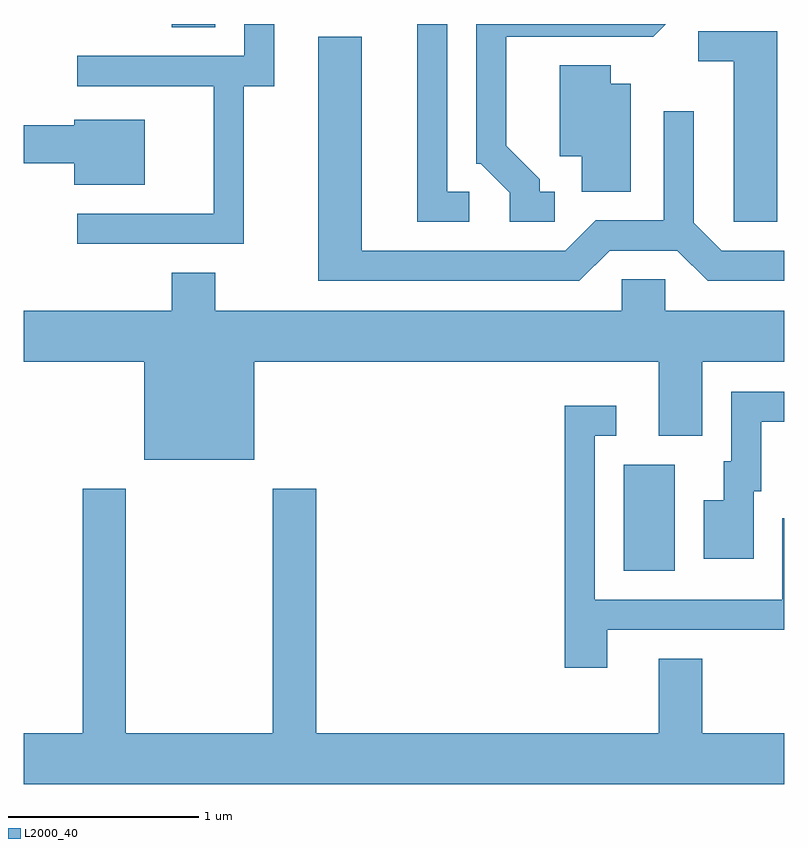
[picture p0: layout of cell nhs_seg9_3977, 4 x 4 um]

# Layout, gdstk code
import gdstk
lib = gdstk.Library(unit=1e-6, precision=1e-09)
def R(c, l, rs):  # rectangles x0, y0, x1, y1
    for r in rs: c.add(gdstk.rectangle(r[:2], r[2:], *l))
def P(c, l, *ps):  # polygons
    for p in ps: c.add(gdstk.Polygon(p, *l))
L2000_40 = (2000, 40)

nhs_seg9_3977 = lib.new_cell('nhs_seg9_3977')
R(nhs_seg9_3977, L2000_40, [(304.766,2039.556,305.034,2040.114), (302.391,2042.416,302.619,2042.432)])
P(nhs_seg9_3977, L2000_40, [(304.403,2041.549),(304.324,2041.549),(304.324,2041.617),(304.149,2041.792),(304.149,2042.366),(304.922,2042.366),(304.988,2042.432),(303.991,2042.432),(303.991,2041.696),(304.014,2041.696),(304.166,2041.544),(304.166,2041.391),(304.403,2041.391)],
  [(303.953,2041.549),(303.839,2041.549),(303.839,2042.432),(303.681,2042.432),(303.681,2041.391),(303.953,2041.391)],
  [(302.769,2042.106),(302.929,2042.106),(302.929,2042.432),(302.771,2042.432),(302.771,2042.264),(301.893,2042.264),(301.893,2042.106),(302.611,2042.106),(302.611,2041.434),(301.893,2041.434),(301.893,2041.276),(302.769,2041.276)],
  [(305.574,2042.394),(305.158,2042.394),(305.158,2042.236),(305.346,2042.236),(305.346,2041.391),(305.574,2041.391)],
  [(304.692,2041.241),(305.049,2041.241),(305.209,2041.081),(305.611,2041.081),(305.611,2041.239),(305.282,2041.239),(305.134,2041.387),(305.134,2041.973),(304.976,2041.973),(304.976,2041.399),(304.619,2041.399),(304.459,2041.239),(303.389,2041.239),(303.389,2042.364),(303.161,2042.364),(303.161,2041.081),(304.532,2041.081)],
  [(304.804,2042.119),(304.699,2042.119),(304.699,2042.214),(304.431,2042.214),(304.431,2041.736),(304.546,2041.736),(304.546,2041.551),(304.804,2041.551)],
  [(302.249,2041.929),(301.876,2041.929),(301.876,2041.899),(301.611,2041.899),(301.611,2041.701),(301.876,2041.701),(301.876,2041.586),(302.249,2041.586)],
  [(302.824,2040.656),(304.951,2040.656),(304.951,2040.266),(305.179,2040.266),(305.179,2040.656),(305.611,2040.656),(305.611,2040.924),(304.984,2040.924),(304.984,2041.089),(304.756,2041.089),(304.756,2040.924),(302.619,2040.924),(302.619,2041.124),(302.391,2041.124),(302.391,2040.924),(301.611,2040.924),(301.611,2040.656),(302.246,2040.656),(302.246,2040.141),(302.824,2040.141)],
  [(305.449,2039.976),(305.489,2039.976),(305.489,2040.341),(305.611,2040.341),(305.611,2040.499),(305.331,2040.499),(305.331,2040.134),(305.291,2040.134),(305.291,2039.929),(305.186,2039.929),(305.186,2039.621),(305.449,2039.621)],
  [(304.679,2039.246),(305.611,2039.246),(305.611,2039.833),(305.601,2039.833),(305.601,2039.404),(304.614,2039.404),(304.614,2040.266),(304.728,2040.266),(304.728,2040.424),(304.456,2040.424),(304.456,2039.046),(304.679,2039.046)],
  [(305.611,2038.704),(305.179,2038.704),(305.179,2039.094),(304.951,2039.094),(304.951,2038.704),(303.149,2038.704),(303.149,2039.989),(302.921,2039.989),(302.921,2038.704),(302.149,2038.704),(302.149,2039.989),(301.921,2039.989),(301.921,2038.704),(301.611,2038.704),(301.611,2038.436),(305.611,2038.436)])

lib.write_gds('nhs_seg9_3977.gds')
